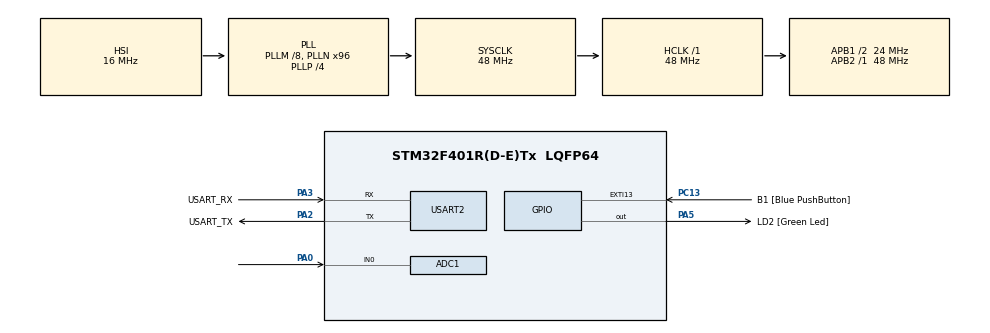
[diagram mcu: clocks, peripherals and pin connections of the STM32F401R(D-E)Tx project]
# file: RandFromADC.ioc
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ADC1.Channel-11\#ChannelRegularConversion=ADC_CHANNEL_0
ADC1.ContinuousConvMode=ENABLE
ADC1.DMAContinuousRequests=ENABLE
ADC1.ExternalTrigConv=ADC_SOFTWARE_START
ADC1.NbrOfConversionFlag=1
ADC1.Rank-11\#ChannelRegularConversion=1
ADC1.SamplingTime-11\#ChannelRegularConversion=ADC_SAMPLETIME_3CYCLES
ADC1.master=1
Dma.ADC1.0.Direction=DMA_PERIPH_TO_MEMORY
Dma.ADC1.0.FIFOMode=DMA_FIFOMODE_DISABLE
Dma.ADC1.0.Instance=DMA2_Stream0
Dma.ADC1.0.MemDataAlignment=DMA_MDATAALIGN_HALFWORD
Dma.ADC1.0.MemInc=DMA_MINC_ENABLE
Dma.ADC1.0.Mode=DMA_NORMAL
Dma.ADC1.0.PeriphDataAlignment=DMA_PDATAALIGN_HALFWORD
Dma.ADC1.0.PeriphInc=DMA_PINC_DISABLE
Dma.ADC1.0.Priority=DMA_PRIORITY_VERY_HIGH
Dma.Request0=ADC1
Mcu.Family=STM32F4
Mcu.Name=STM32F401R(D-E)Tx
Mcu.Package=LQFP64
NVIC.DMA2_Stream0_IRQn=true\:0\:0\:false\:false\:true\:false\:true\:true
NVIC.PriorityGroup=NVIC_PRIORITYGROUP_4
NVIC.TIM1_UP_TIM10_IRQn=true\:15\:0\:false\:false\:true\:false\:true\:true
NVIC.TimeBase=TIM1_UP_TIM10_IRQn
NVIC.TimeBaseIP=TIM1
PA0-WKUP.Signal=ADCx_IN0
PA13.GPIO_Label=TMS
PA13.Mode=Serial_Wire
PA13.Signal=SYS_JTMS-SWDIO
PA14.GPIO_Label=TCK
PA14.Mode=Serial_Wire
PA14.Signal=SYS_JTCK-SWCLK
PA2.GPIO_Label=USART_TX
PA2.GPIO_Mode=GPIO_MODE_AF_PP
PA2.GPIO_PuPd=GPIO_NOPULL
PA2.GPIO_Speed=GPIO_SPEED_FREQ_LOW
PA2.Mode=Asynchronous
PA2.Signal=USART2_TX
PA3.GPIO_Label=USART_RX
PA3.GPIO_Mode=GPIO_MODE_AF_PP
PA3.GPIO_PuPd=GPIO_NOPULL
PA3.GPIO_Speed=GPIO_SPEED_FREQ_LOW
PA3.Mode=Asynchronous
PA3.Signal=USART2_RX
PA5.GPIO_Label=LD2 [Green Led]
PA5.GPIO_Mode=GPIO_MODE_OUTPUT_PP
PA5.GPIO_PuPd=GPIO_NOPULL
PA5.GPIO_Speed=GPIO_SPEED_FREQ_LOW
PA5.Signal=GPIO_Output
PB3.GPIO_Label=SWO
PB3.Signal=SYS_JTDO-SWO
PC13-ANTI_TAMP.GPIO_Label=B1 [Blue PushButton]
PC13-ANTI_TAMP.GPIO_ModeDefaultEXTI=GPIO_MODE_IT_FALLING
PC13-ANTI_TAMP.GPIO_PuPd=GPIO_NOPULL
PC13-ANTI_TAMP.Signal=GPXTI13
PC14-OSC32_IN.Signal=RCC_OSC32_IN
PC15-OSC32_OUT.Signal=RCC_OSC32_OUT
PH0\ -\ OSC_IN.Mode=HSE-External-Oscillator
PH0\ -\ OSC_IN.Signal=RCC_OSC_IN
PH1\ -\ OSC_OUT.Mode=HSE-External-Oscillator
PH1\ -\ OSC_OUT.Signal=RCC_OSC_OUT
ProjectManager.HeapSize=0x200
ProjectManager.StackSize=0x400
ProjectManager.TargetToolchain=STM32CubeIDE
RCC.48MHZClocksFreq_Value=27428571.42857143
RCC.AHBFreq_Value=48000000
RCC.APB1CLKDivider=RCC_HCLK_DIV2
RCC.APB1Freq_Value=24000000
RCC.APB1TimFreq_Value=48000000
RCC.APB2Freq_Value=48000000
RCC.APB2TimFreq_Value=48000000
RCC.CortexFreq_Value=48000000
RCC.HCLKFreq_Value=48000000
RCC.HSE_VALUE=8000000
RCC.HSI_VALUE=16000000
RCC.LSE_VALUE=32768
RCC.PLLM=8
RCC.PLLN=96
RCC.PLLP=RCC_PLLP_DIV4
RCC.PLLQ=7
RCC.SYSCLKFreq_VALUE=48000000
RCC.SYSCLKSource=RCC_SYSCLKSOURCE_PLLCLK
RCC.VCOOutputFreq_Value=192000000
SH.ADCx_IN0.0=ADC1_IN0,IN0
USART2.VirtualMode=VM_ASYNC
VP_SYS_VS_tim1.Mode=TIM1
board=NUCLEO-F401RE

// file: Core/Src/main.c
/* USER CODE BEGIN Header */
/**
  ******************************************************************************
  * @file           : main.c
  * @brief          : Main program body
  ******************************************************************************
  * @attention
  *
  * Copyright (c) 2024 STMicroelectronics.
  * All rights reserved.
  *
  * This software is licensed under terms that can be found in the LICENSE file
  * in the root directory of this software component.
  * If no LICENSE file comes with this software, it is provided AS-IS.
  *
  ******************************************************************************
  */
/* USER CODE END Header */
#include "main.h"
#include "adc.h"
#include "dma.h"
#include "usart.h"
#include "gpio.h"

/* USER CODE BEGIN Includes */
#include <stdio.h>
#include <stdlib.h>
#include "RandFromADC.h"
/* USER CODE END Includes */

/* USER CODE BEGIN PD */
#define NUMBER_OF_RANDOM_BITS_TO_GENERATE 		512000
/* USER CODE END PD */

void SystemClock_Config(void);

/* USER CODE BEGIN 0 */
int uint32_to_binary_string(char *binary_string, uint32_t len, uint32_t num) {
    if (binary_string == NULL || len != 33)
    {
        // Memory allocation failed
        return 1;
    }
    // Null-terminate the string
    binary_string[32] = '\0';
    // Convert each bit of the uint32_t to '0' or '1'
    for (int i = 31; i >= 0; i--)
    {
        binary_string[i] = (num & 1) ? '1' : '0';
        num >>= 1;
    }
    return 0;
}

/* USER CODE END 0 */

int main(void)
{

  /* MCU Configuration--------------------------------------------------------*/

  /* Reset of all peripherals, Initializes the Flash interface and the Systick. */
  HAL_Init();

  /* Configure the system clock */
  SystemClock_Config();

  /* Initialize all configured peripherals */
  MX_GPIO_Init();
  MX_DMA_Init();
  MX_USART2_UART_Init();
  MX_ADC1_Init();
  /* USER CODE BEGIN 2 */
  //printf("RANDOM NUMBERS GENERATOR WITH ADC\r\n");
  int seed = rand();
  UNUSED(seed);
  uint32_t millis;
  UNUSED(millis);
  RandFromADC_init();
  char binary_string[33];
  uint32_t random;
  uint32_t cnt = 0;
  /* USER CODE END 2 */

  /* Infinite loop */
  /* USER CODE BEGIN WHILE */
  while (1)
  {
	while(cnt < 512000)
	{
		uint32_t start = HAL_GetTick();
		if(RandFromADC_getRandom(&random) != 0)
		{
			Error_Handler();
		}
		millis = HAL_GetTick() - start;
		uint32_to_binary_string(binary_string, sizeof(binary_string),random);
		printf("%s\r\n", binary_string);
		cnt += 32;
	}
    /* USER CODE END WHILE */

    /* USER CODE BEGIN 3 */
	HAL_Delay(5000);
  }
  /* USER CODE END 3 */
}

void SystemClock_Config(void)
{
  RCC_OscInitTypeDef RCC_OscInitStruct = {0};
  RCC_ClkInitTypeDef RCC_ClkInitStruct = {0};

  /** Configure the main internal regulator output voltage
  */
  __HAL_RCC_PWR_CLK_ENABLE();
  __HAL_PWR_VOLTAGESCALING_CONFIG(PWR_REGULATOR_VOLTAGE_SCALE2);

  /** Initializes the RCC Oscillators according to the specified parameters
  * in the RCC_OscInitTypeDef structure.
  */
  RCC_OscInitStruct.OscillatorType = RCC_OSCILLATORTYPE_HSI;
  RCC_OscInitStruct.HSIState = RCC_HSI_ON;
  RCC_OscInitStruct.HSICalibrationValue = RCC_HSICALIBRATION_DEFAULT;
  RCC_OscInitStruct.PLL.PLLState = RCC_PLL_ON;
  RCC_OscInitStruct.PLL.PLLSource = RCC_PLLSOURCE_HSI;
  RCC_OscInitStruct.PLL.PLLM = 8;
  RCC_OscInitStruct.PLL.PLLN = 96;
  RCC_OscInitStruct.PLL.PLLP = RCC_PLLP_DIV4;
  RCC_OscInitStruct.PLL.PLLQ = 7;
  if (HAL_RCC_OscConfig(&RCC_OscInitStruct) != HAL_OK)
  {
    Error_Handler();
  }

  /** Initializes the CPU, AHB and APB buses clocks
  */
  RCC_ClkInitStruct.ClockType = RCC_CLOCKTYPE_HCLK|RCC_CLOCKTYPE_SYSCLK
                              |RCC_CLOCKTYPE_PCLK1|RCC_CLOCKTYPE_PCLK2;
  RCC_ClkInitStruct.SYSCLKSource = RCC_SYSCLKSOURCE_PLLCLK;
  RCC_ClkInitStruct.AHBCLKDivider = RCC_SYSCLK_DIV1;
  RCC_ClkInitStruct.APB1CLKDivider = RCC_HCLK_DIV2;
  RCC_ClkInitStruct.APB2CLKDivider = RCC_HCLK_DIV1;

  if (HAL_RCC_ClockConfig(&RCC_ClkInitStruct, FLASH_LATENCY_1) != HAL_OK)
  {
    Error_Handler();
  }
}

void HAL_TIM_PeriodElapsedCallback(TIM_HandleTypeDef *htim)
{
  if (htim->Instance == TIM1) {
    HAL_IncTick();
  }
}

void Error_Handler(void)
{
  __disable_irq();
  while (1)
  {
  }
}
